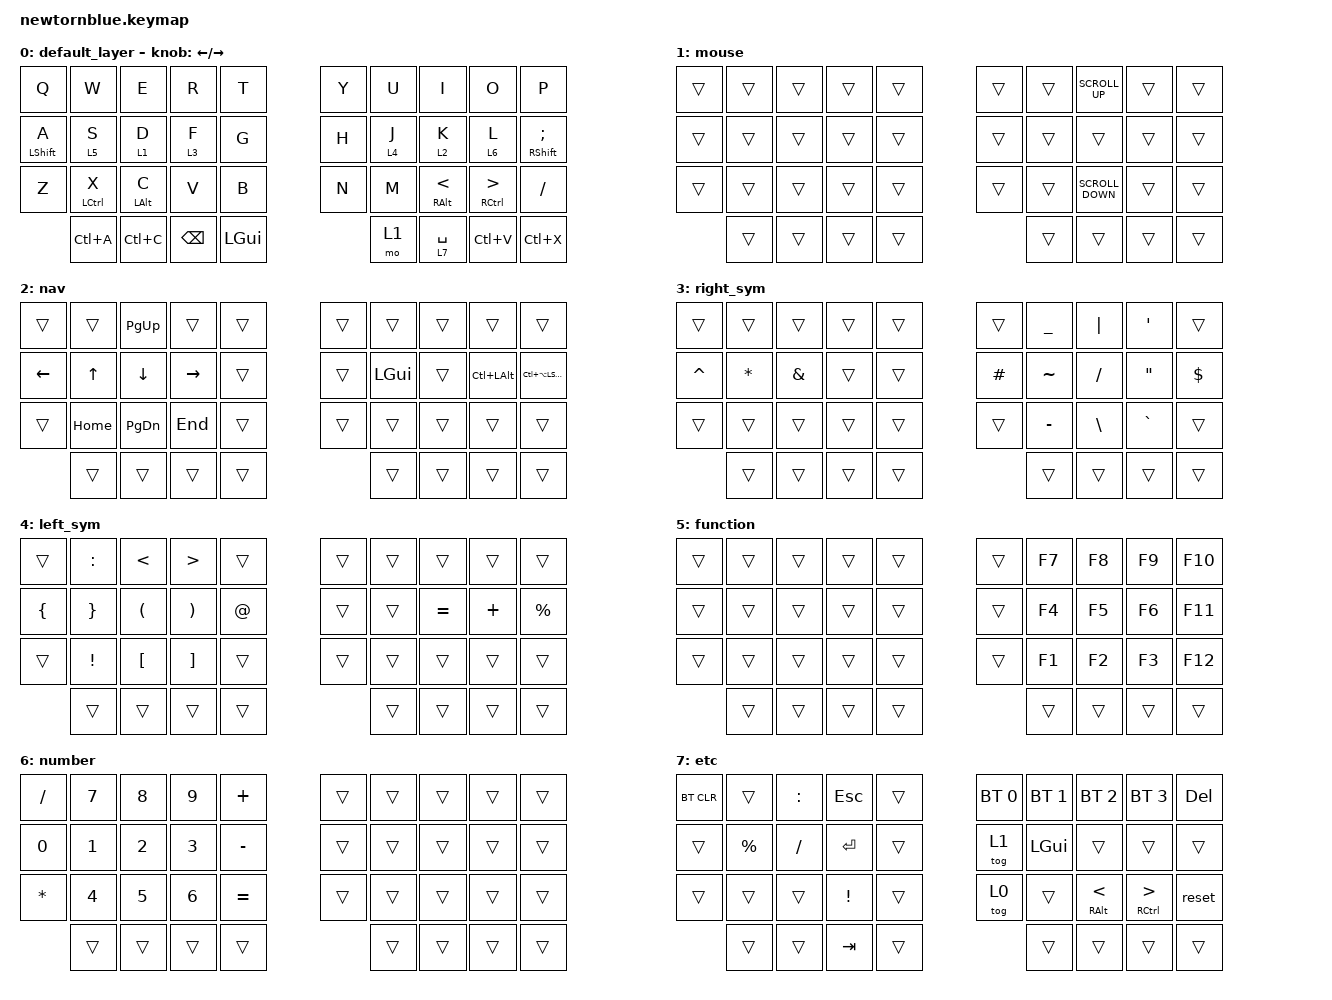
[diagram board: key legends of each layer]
/*
 * Copyright (c) 2021 Richard Titmuss
 *
 * SPDX-License-Identifier: MIT
 */

#include <behaviors.dtsi>
#include <dt-bindings/zmk/keys.h>
#include <dt-bindings/zmk/bt.h>
#include <dt-bindings/zmk/backlight.h>
#include <dt-bindings/zmk/ext_power.h>
#include <dt-bindings/zmk/rgb.h>

#define DEFAULT 0
#define NAVI    1

/ {
    keymap {
        compatible = "zmk,keymap";

        default_layer {
            // -----------------------------------------------------------------------------------------
            // |  TAB |  Q  |  W  |  E  |  R  |  T  |   |  Y  |  U   |  I  |  O  |  P  | BKSP |
            // | CTRL |  A  |  S  |  D  |  F  |  G  |   |  H  |  J   |  K  |  L  |  ;  |  '   |
            // | SHFT |  Z  |  X  |  C  |  V  |  B  |   |  N  |  M   |  ,  |  .  |  /  | ESC  |
            //              | SPC | GUI | LWR | SPC |   | ENT | RSE  | ALT | ENT |

            bindings = <
                    &kp Q        &kp W       &kp E          &kp R     &kp T           &kp Y        &kp U               &kp I                   &kp O                 &kp P
         &mt LEFT_SHIFT A      &lt 5 S     &lt 1 D        &lt 3 F     &kp G           &kp H      &lt 4 J             &lt 2 K                 &lt 6 L  &mt RSHIFT SEMICOLON
                    &kp Z  &mt LCTRL X  &mt LALT C          &kp V     &kp B           &kp N        &kp M  &mt RALT LESS_THAN  &mt RCTRL GREATER_THAN              &kp FSLH
                             &kp LC(A)   &kp LC(C)  &kp BACKSPACE  &kp LGUI           &mo 1  &lt 7 SPACE           &kp LC(V)               &kp LC(X)
            >;

            sensor-bindings = <&inc_dec_kp LEFT RIGHT>;
        };

        mouse {
            bindings = <
         &trans  &trans  &trans  &trans  &trans          &trans  &trans    &kp K_SCROLL_UP  &trans  &trans
         &trans  &trans  &trans  &trans  &trans          &trans  &trans             &trans  &trans  &trans
         &trans  &trans  &trans  &trans  &trans          &trans  &trans  &kp K_SCROLL_DOWN  &trans  &trans
                 &trans  &trans  &trans  &trans          &trans  &trans             &trans  &trans
            >;
        };

        nav {
            bindings = <
           &trans    &trans    &kp PAGE_UP     &trans  &trans          &trans        &trans  &trans            &trans              &trans
         &kp LEFT    &kp UP       &kp DOWN  &kp RIGHT  &trans          &trans  &kp LEFT_GUI  &trans  &kp LC(LEFT_ALT)  &kp LC(LA(LSHIFT))
           &trans  &kp HOME  &kp PAGE_DOWN    &kp END  &trans          &trans        &trans  &trans            &trans              &trans
                     &trans         &trans     &trans  &trans          &trans        &trans  &trans            &trans
            >;
        };

        right_sym {
            bindings = <
            &trans    &trans         &trans  &trans  &trans            &trans  &kp UNDERSCORE       &kp PIPE   &kp SINGLE_QUOTE      &trans
         &kp CARET  &kp STAR  &kp AMPERSAND  &trans  &trans          &kp HASH       &kp TILDE      &kp SLASH  &kp DOUBLE_QUOTES  &kp DOLLAR
            &trans    &trans         &trans  &trans  &trans            &trans       &kp MINUS  &kp BACKSLASH          &kp GRAVE      &trans
                      &trans         &trans  &trans  &trans            &trans          &trans         &trans             &trans
            >;
        };

        left_sym {
            bindings = <
                 &trans        &kp COLON         &kp LESS_THAN       &kp GREATER_THAN       &trans          &trans  &trans     &trans    &trans       &trans
         &kp LEFT_BRACE  &kp RIGHT_BRACE  &kp LEFT_PARENTHESIS  &kp RIGHT_PARENTHESIS  &kp AT_SIGN          &trans  &trans  &kp EQUAL  &kp PLUS  &kp PERCENT
                 &trans  &kp EXCLAMATION      &kp LEFT_BRACKET      &kp RIGHT_BRACKET       &trans          &trans  &trans     &trans    &trans       &trans
                                  &trans                &trans                 &trans       &trans          &trans  &trans     &trans    &trans
            >;
        };

        function {
            bindings = <
         &trans  &trans  &trans  &trans  &trans          &trans  &kp F7  &kp F8  &kp F9  &kp F10
         &trans  &trans  &trans  &trans  &trans          &trans  &kp F4  &kp F5  &kp F6  &kp F11
         &trans  &trans  &trans  &trans  &trans          &trans  &kp F1  &kp F2  &kp F3  &kp F12
                 &trans  &trans  &trans  &trans          &trans  &trans  &trans  &trans
            >;
        };

        number {
            bindings = <
            &kp SLASH  &kp NUMBER_7  &kp NUMBER_8  &kp NUMBER_9   &kp PLUS          &trans  &trans  &trans  &trans  &trans
         &kp NUMBER_0  &kp NUMBER_1  &kp NUMBER_2  &kp NUMBER_3  &kp MINUS          &trans  &trans  &trans  &trans  &trans
         &kp ASTERISK  &kp NUMBER_4  &kp NUMBER_5  &kp NUMBER_6  &kp EQUAL          &trans  &trans  &trans  &trans  &trans
                             &trans        &trans        &trans     &trans          &trans  &trans  &trans  &trans
            >;
        };

        etc {
            bindings = <
         &bt BT_CLR  &trans  &kp COLON          &kp ESC  &trans          &bt BT_SEL 0  &bt BT_SEL 1        &bt BT_SEL 2            &bt BT_SEL 3  &kp DELETE
             &trans    &kp PERCENT  &kp SLASH        &kp ENTER  &trans                &tog 1      &kp LGUI              &trans                  &trans      &trans
             &trans         &trans     &trans  &kp EXCLAMATION  &trans                &tog 0        &trans  &mt RALT LESS_THAN  &mt RCTRL GREATER_THAN      &reset
                            &trans     &trans          &kp TAB  &trans                &trans        &trans              &trans                  &trans
            >;
        };
    };
}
